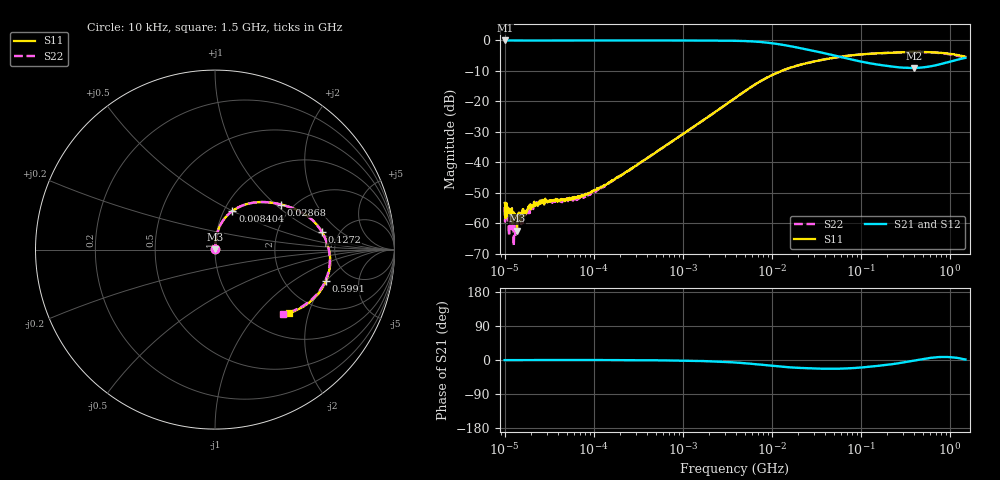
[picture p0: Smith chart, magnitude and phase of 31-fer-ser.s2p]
#  HZ  S  DB  R  50.00
! Rohde & Schwarz Vector Network Analyzer
! Rohde-Schwarz,ZNB8-4Port,1334333044101560,3.32
! Created: UTC 3/21/2023, 5:15:46 PM
! freq[Hz]  db:S11  ang:S11  db:S41  ang:S41  db:S14  ang:S14  db:S44  ang:S44
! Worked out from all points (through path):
!   1001 points, 10 kHz to 1.5 GHz, reference 50 ohm
!   highest |S21| = 0.00 dB at 10.12 kHz (marker M1); lowest = -9.0 dB at 399.5 MHz (marker M2)
!   lowest |S11| = -62.4 dB at 13.8 kHz (marker M3), VSWR 1.00, Z = 50 + j0.0725 ohm
!   |S11| at or under -10 dB: start of sweep to 12.86 MHz
!   |S22| runs from -67.5 to -3.8 dB; largest |S21 - S12| = 0.0047
!   S11 on the Smith chart (normalised r, x): 10 kHz: 1.00, +0.00; 8.404 MHz: 1.10, +0.50; 28.68 MHz: 1.73, +1.09; 127.2 MHz: 3.68, +1.13; 599.1 MHz: 3.31, -1.99; 1.5 GHz: 1.50, -1.49
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10000  -53.36 48.3  0.00 -0.4  0.01 -0.3  -54.66 53.9
10119.9  -53.64 33.0  0.00 -0.4  0.01 -0.3  -59.41 33.1
11957.53  -56.15 73.8  -0.01 -0.4  0.00 -0.3  -59.44 49.7
12997.92  -56.87 85.2  -0.01 -0.3  -0.00 -0.3  -59.98 90.8
13796.04  -62.43 73.4  -0.01 -0.3  -0.01 -0.3  -60.34 122.9
17302.15  -55.96 113.2  -0.02 -0.3  -0.02 -0.2  -55.97 119.0
19261.27  -54.76 111.6  -0.02 -0.2  -0.02 -0.2  -56.49 117.1
22758.85  -53.33 117.2  -0.02 -0.2  -0.02 -0.2  -53.09 115.5
73182.5  -51.02 85.0  -0.01 -0.1  -0.00 -0.1  -51.48 85.2
134396.5  -47.46 88.1  -0.00 -0.2  -0.00 -0.2  -47.40 85.3
535567.8  -36.10 87.2  -0.00 -0.9  -0.00 -0.9  -36.13 87.2
3872983  -18.92 80.4  -0.11 -6.5  -0.10 -6.5  -18.93 80.4
8404107  -12.54 65.7  -0.64 -13.5  -0.64 -13.6  -12.54 65.8
1.471526e7  -9.35 50.3  -1.65 -18.8  -1.65 -18.8  -9.36 50.3
2.834346e7  -7.05 34.5  -3.30 -22.3  -3.29 -22.2  -7.04 34.5
2.868329e7  -7.01 34.3  -3.33 -22.3  -3.33 -22.3  -7.01 34.2
1.272449e8  -4.37 9.3  -7.49 -17.6  -7.49 -17.7  -4.38 9.1
2.074245e8  -4.04 2.7  -8.44 -12.1  -8.43 -12.2  -4.05 2.5
3.995261e8  -3.78 -7.6  -9.03 -1.5  -9.04 -1.6  -3.82 -8.1
5.991454e8  -3.85 -15.9  -8.51 5.5  -8.54 5.4  -3.91 -16.7
9.883894e8  -4.35 -28.4  -7.02 7.7  -7.08 7.6  -4.52 -29.9
1.5e9  -5.33 -40.7  -5.70 1.3  -5.78 1.3  -5.64 -43.4
